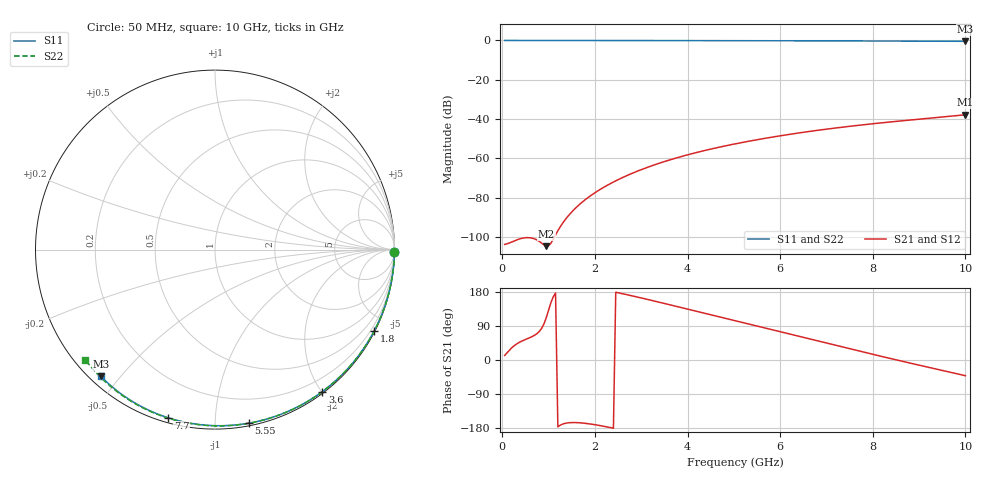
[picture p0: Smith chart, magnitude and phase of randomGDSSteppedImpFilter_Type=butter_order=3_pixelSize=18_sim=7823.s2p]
! freq	dB(S11)	phase(S11)	dB(S12)	phase(S12)
!  dB(S21)	phase(S21)	dB(S22)	phase(S22)
!S-par simulation data
#  GHz  S  DB  R 50
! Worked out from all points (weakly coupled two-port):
!   200 points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, 50 MHz to 10 GHz, reference 50 ohm
!   highest |S21| = -37.86 dB at 10 GHz (marker M1); lowest = -104.8 dB at 950 MHz (marker M2)
!   lowest |S11| = -0.4 dB at 10 GHz (marker M3), VSWR 39.02, Z = 1.53 - j22.2 ohm
!   |S11| at or under -10 dB: nowhere
!   |S22| runs from -0.5 to 0.0 dB; largest |S21 - S12| = 0
!   S11 on the Smith chart (normalised r, x): 50 MHz: open; 1.8 GHz: 0.04, -4.16; 3.6 GHz: 0.02, -2.01; 5.55 GHz: 0.02, -1.21; 7.7 GHz: 0.02, -0.76; 10 GHz: 0.03, -0.44
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0.05  -0.00 -0.8  -103.88 11.9  -103.88 11.9  -0.00 -0.8
0.5  -0.01 -7.6  -100.48 54.2  -100.48 54.2  -0.01 -8.1
0.95  -0.02 -14.4  -104.78 111.9  -104.78 111.9  -0.02 -15.3
1.75  -0.03 -26.3  -81.87 -166.6  -81.87 -166.6  -0.04 -27.9
1.8  -0.03 -27.0  -80.93 -167.3  -80.93 -167.3  -0.04 -28.7
1.85  -0.04 -27.8  -80.04 -168.0  -80.04 -168.0  -0.04 -29.4
2.15  -0.04 -32.2  -75.34 -174.0  -75.34 -174.0  -0.04 -34.1
2.35  -0.04 -35.1  -72.70 -178.7  -72.70 -178.7  -0.05 -37.2
2.55  -0.05 -38.0  -70.34 176.2  -70.34 176.2  -0.05 -40.2
2.95  -0.06 -43.7  -66.26 165.2  -66.26 165.2  -0.06 -46.3
3.4  -0.07 -50.1  -62.45 152.2  -62.45 152.2  -0.07 -53.0
3.6  -0.07 -52.9  -60.95 146.2  -60.95 146.2  -0.08 -55.9
3.9  -0.08 -57.0  -58.90 137.3  -58.90 137.3  -0.08 -60.3
4.3  -0.09 -62.5  -56.45 125.2  -56.45 125.2  -0.09 -66.1
5.05  -0.11 -72.5  -52.56 102.7  -52.56 102.7  -0.12 -76.6
5.55  -0.13 -79.0  -50.35 87.8  -50.35 87.8  -0.14 -83.4
6.1  -0.15 -86.0  -48.20 71.3  -48.20 71.3  -0.16 -90.8
6.7  -0.18 -93.4  -46.12 53.4  -46.12 53.4  -0.19 -98.6
7.7  -0.24 -105.5  -43.19 23.8  -43.19 23.8  -0.26 -111.3
8.35  -0.29 -113.1  -41.58 4.8  -41.58 4.8  -0.31 -119.4
9.2  -0.36 -122.9  -39.67 -19.2  -39.67 -19.2  -0.38 -129.8
10  -0.45 -132.0  -37.86 -41.4  -37.86 -41.4  -0.46 -139.6
